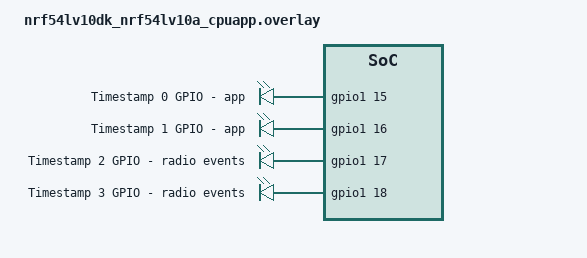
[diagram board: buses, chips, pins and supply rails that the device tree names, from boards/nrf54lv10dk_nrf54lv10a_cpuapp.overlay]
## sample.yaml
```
sample:
  name: RRAM radio sync test

tests:
  tests.benchmarks.rram_radio_sync.on:
    platform_allow:
      - nrf54lv10dk/nrf54lv10a/cpuapp
    integration_platforms:
      - nrf54lv10dk/nrf54lv10a/cpuapp
  tests.benchmarks.rram_radio_sync.off:
    platform_allow:
      - nrf54lv10dk/nrf54lv10a/cpuapp/ns
    integration_platforms:
      - nrf54lv10dk/nrf54lv10a/cpuapp/ns
    extra_args:
      - CONFIG_SOC_FLASH_NRF_RADIO_SYNC_NONE=y
```

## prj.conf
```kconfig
#
# Copyright (c) 2025 Nordic Semiconductor ASA
#
# SPDX-License-Identifier: LicenseRef-Nordic-5-Clause
#
CONFIG_NCS_SAMPLES_DEFAULTS=n

CONFIG_BT=y

CONFIG_LOG=n
CONFIG_CONSOLE=n
CONFIG_UART_CONSOLE=n
CONFIG_SERIAL=n
CONFIG_PRINTK=n

# Enable MPSL pin debug to toggle GPIOs upon radio events
CONFIG_MPSL_PIN_DEBUG=y
# Use GPIO P1.17 and P1.18 (timestamp2 and timestamp3) for radio events
CONFIG_MPSL_PIN_DEBUG_RADIO_READY_AND_DISABLED_PIN=49
CONFIG_MPSL_PIN_DEBUG_RADIO_ADDRESS_AND_END_PIN=50

CONFIG_USE_DT_CODE_PARTITION=y

CONFIG_MPU_ALLOW_FLASH_WRITE=y
CONFIG_FLASH=y
CONFIG_FLASH_MAP=y
CONFIG_FLASH_PAGE_LAYOUT=y
```

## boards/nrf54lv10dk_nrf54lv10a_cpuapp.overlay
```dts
/*
 * Copyright (c) 2025 Nordic Semiconductor ASA
 *
 * SPDX-License-Identifier: LicenseRef-Nordic-5-Clause
 */

 / {
	chosen {
		zephyr,code-partition = &app_code_partition;
	};

	timestamps {
		compatible = "gpio-leds";
		timestamp0: timestamp_0 {
			gpios = < &gpio1 15 GPIO_ACTIVE_HIGH >;
			label = "Timestamp 0 GPIO - app";
		};

		timestamp1: timestamp_1 {
			gpios = < &gpio1 16 GPIO_ACTIVE_HIGH >;
			label = "Timestamp 1 GPIO - app";
		};

		timestamp2: timestamp_2 {
			gpios = < &gpio1 17 GPIO_ACTIVE_HIGH >;
			label = "Timestamp 2 GPIO - radio events";
		};

		timestamp3: timestamp_3 {
			gpios = < &gpio1 18 GPIO_ACTIVE_HIGH >;
			label = "Timestamp 3 GPIO - radio events";
		};
	};

	aliases {
		timestamp0 = &timestamp0;
		timestamp1 = &timestamp1;
		timestamp2 = &timestamp2;
		timestamp3 = &timestamp3;
	};
};

&cpuapp_rram {
	/delete-node/ partitions;

	partitions {
		compatible = "fixed-partitions";
		#address-cells = <1>;
		#size-cells = <1>;

		app_code_partition: partition@0 {
			label = "code";
			reg = <0x0 DT_SIZE_K(852)>;
		};

		raw_flash_partition: partition@d5000 {
			label = "raw_flash";
			reg = <0xd5000 DT_SIZE_K(80)>;
		};
	};
};
```

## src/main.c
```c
/*
 * Copyright (c) 2025 Nordic Semiconductor ASA
 *
 * SPDX-License-Identifier: LicenseRef-Nordic-5-Clause
 */

#include <zephyr/types.h>
#include <stddef.h>
#include <zephyr/sys/printk.h>
#include <zephyr/sys/util.h>

#include <zephyr/drivers/gpio.h>

#include <zephyr/bluetooth/bluetooth.h>
#include <zephyr/bluetooth/hci.h>

#include <zephyr/storage/flash_map.h>

/* Set iBeacon demo advertisement data for the test. */
static const struct bt_data ad[] = {
	BT_DATA_BYTES(BT_DATA_FLAGS, BT_LE_AD_NO_BREDR),
	BT_DATA_BYTES(BT_DATA_MANUFACTURER_DATA,
		      0x4c, 0x00, /* Apple */
		      0x02, 0x15, /* iBeacon */
		      0x18, 0xee, 0x15, 0x16, /* UUID[15..12] */
		      0x01, 0x6b, /* UUID[11..10] */
		      0x4b, 0xec, /* UUID[9..8] */
		      0xad, 0x96, /* UUID[7..6] */
		      0xbc, 0xb9, 0x6d, 0x16, 0x6e, 0x97, /* UUID[5..0] */
		      0x00, 0x00, /* Major */
		      0x00, 0x00, /* Minor */
		      0xc8) /* Calibrated RSSI @ 1m */
};

/* Timestamp GPIO */

#define TIMESTAMP_COUNT 2

enum timestamp {
	TIMESTAMP_RRAM_WRITE,
	TIMESTAMP_CPU_SLEEP,
};

#define _TIMESTAMP_GPIO_DT_SPEC_GET(_idx, ...)  GPIO_DT_SPEC_GET(DT_ALIAS(timestamp ## _idx), gpios)

static const struct gpio_dt_spec timestamps[] = {
	LISTIFY(TIMESTAMP_COUNT, _TIMESTAMP_GPIO_DT_SPEC_GET, (,), )
};

static uint64_t timestamp_start[ARRAY_SIZE(timestamps)];

static int timestamp_init_gpio(const struct gpio_dt_spec *gpio) {
	int ret;

	if (!device_is_ready(gpio->port)) {
		printk("Cannot initialize \"%s\"!\n", gpio->port->name);
		return -ENODEV;
	}

	ret = gpio_pin_configure_dt(gpio, GPIO_OUTPUT_ACTIVE);
	if (ret != 0) {
		printk("Cannot initialize timestamp GPIO \"%s\" (ret %d)!\n", gpio->port->name, ret);
		return ret;
	}

	ret = gpio_pin_set_dt(gpio, 0);
	if (ret != 0) {
		printk("Cannot set timestamp GPIO \"%s\" (ret %d)!\n", gpio->port->name, ret);
		return ret;
	}

	return 0;
}

static int timestamp_init(void)
{
	int ret;

	for (size_t i = 0; i < ARRAY_SIZE(timestamps); i++) {
		ret = timestamp_init_gpio(&timestamps[i]);
		if (ret != 0) {
			printk("Cannot initialize timestamp %d GPIO %d!\n", i, ret);
			return ret;
		}
	}

	return 0;
}

static void timestamp_set_gpio(const struct gpio_dt_spec *gpio, bool set)
{
	int ret = gpio_pin_set_dt(gpio, set ? 1 : 0);
	if (ret != 0) {
		printk("Cannot set timestamp GPIO \"%s\" (ret %d)!\n", gpio->port->name, ret);
	}
}

static uint64_t uptime_us(void)
{
	uint64_t cycles = k_cycle_get_64();
	return (uint64_t)k_cyc_to_us_near64(cycles);
}

static void timestamp_set(enum timestamp ts, bool set)
{
	__ASSERT(ts < ARRAY_SIZE(timestamps), "Timestamp index out of bounds");

	if (set) {
		timestamp_start[ts] = uptime_us();
		timestamp_set_gpio(&timestamps[ts], true);
	} else {
		timestamp_set_gpio(&timestamps[ts], false);
		printk("Timestamp %d: %lld\n", ts, (uptime_us() - timestamp_start[ts]));
		timestamp_start[ts] = 0;
	}
}

/* Raw flash using flash area API */
#define RAW_FLASH_PARTITION_ID DT_FIXED_PARTITION_ID(DT_NODELABEL(raw_flash_partition))

static int write_flash_area(const uint8_t *data, size_t len)
{
	const struct flash_area *fa;
	int err;

	err = flash_area_open(RAW_FLASH_PARTITION_ID, &fa);
	if (err) {
		printk("Unable to open flash area: %d\n", err);
		return err;
	}

	/* Optional: Erase before write if required by use-case
	 * Here we assume user manages erasure as needed.
	 */

	err = flash_area_write(fa, 0, data, len);
	if (err) {
		printk("Failed to write flash area: %d\n", err);
		flash_area_close(fa);
		return err;
	}

	flash_area_close(fa);
	return 0;
}

static int read_flash_area(uint8_t *data, size_t len)
{
	const struct flash_area *fa;
	int err;

	err = flash_area_open(RAW_FLASH_PARTITION_ID, &fa);
	if (err) {
		printk("Unable to open flash area: %d\n", err);
		return err;
	}

	err = flash_area_read(fa, 0, data, len);
	if (err) {
		printk("Failed to read flash area: %d\n", err);
		flash_area_close(fa);
		return err;
	}

	flash_area_close(fa);
	return 0;
}

static int erase_flash_area(int flash_area_id, size_t size)
{
	const struct flash_area *fa;
	int err;

	err = flash_area_open(flash_area_id, &fa);
	if (err) {
		printk("Unable to open flash area for erase: %d\n", err);
		return err;
	}

	err = flash_area_erase(fa, 0, size);
	if (err) {
		printk("Failed to erase flash area: %d\n", err);
		flash_area_close(fa);
		return err;
	}

	flash_area_close(fa);
	return 0;
}

#define FLASH_BUF_SIZE (10 * 1024)

static uint8_t flash_buf[FLASH_BUF_SIZE];
static uint8_t verify_buf[FLASH_BUF_SIZE];

static void fill_flash_buf(void)
{
	for (size_t i = 0; i < FLASH_BUF_SIZE; i++) {
		flash_buf[i] = i;
	}
}

static void busy_rram(void)
{
	printk("Erasing flash area\n");
	erase_flash_area(RAW_FLASH_PARTITION_ID, FLASH_BUF_SIZE);

	k_msleep(500);

	printk("Writing flash area\n");
	timestamp_set(TIMESTAMP_RRAM_WRITE, true);
	write_flash_area(flash_buf, FLASH_BUF_SIZE);
	timestamp_set(TIMESTAMP_RRAM_WRITE, false);

	k_msleep(500);

	memset(verify_buf, 0, FLASH_BUF_SIZE);
	printk("Reading flash area\n");
	read_flash_area(verify_buf, FLASH_BUF_SIZE);

	printk("Verifying flash area\n");
	if (memcmp(flash_buf, verify_buf, FLASH_BUF_SIZE)) {
		printk("Flash area read not match\n");
	} else {
		printk("Flash area read match\n");
	}
}

static void busy_thread_entry(void *p1, void *p2, void *p3)
{
	printk("Busy thread started\n");

	printk("Filling flash buffer\n");
	fill_flash_buf();

	while (1) {
		printk("==> Busy work start\n");
		busy_rram();
		printk("<== Busy work end\n");

		printk("==> Sleeping\n");
		timestamp_set(TIMESTAMP_CPU_SLEEP, true);
		k_msleep(2000);
		timestamp_set(TIMESTAMP_CPU_SLEEP, false);
		printk("<== Sleeping done\n");
	}
}

static K_THREAD_STACK_DEFINE(busy_thread_stack, 1024);
static struct k_thread busy_thread;

static void bt_ready(int err)
{
	if (err) {
		printk("Bluetooth init failed (err %d)\n", err);
		return;
	}

	printk("Bluetooth initialized\n");

	/* Start non-connectable advertising with 50 ms advertisement interval. */
	err = bt_le_adv_start(BT_LE_ADV_PARAM(0, 0x0050, 0x0050, NULL),
			      ad, ARRAY_SIZE(ad), NULL, 0);
	if (err) {
		printk("Advertising failed to start (err %d)\n", err);
		return;
	}

	printk("iBeacon advertisement started\n");

	/* Start CPU load thread */
	k_thread_create(&busy_thread,
		busy_thread_stack,
		1024,
		busy_thread_entry,
		NULL, NULL, NULL,
		K_PRIO_PREEMPT(5), 0, K_NO_WAIT);
}

int main(void)
{
	int err;

	err = timestamp_init();
	if (err) {
		printk("timestamp_init failed (err %d)\n", err);
		return err;
	}

	printk("Starting RRAM radio sync test\n");

	/* Initialize the Bluetooth Subsystem */
	err = bt_enable(bt_ready);
	if (err) {
		printk("Bluetooth init failed (err %d)\n", err);
	}
	return 0;
}
```
